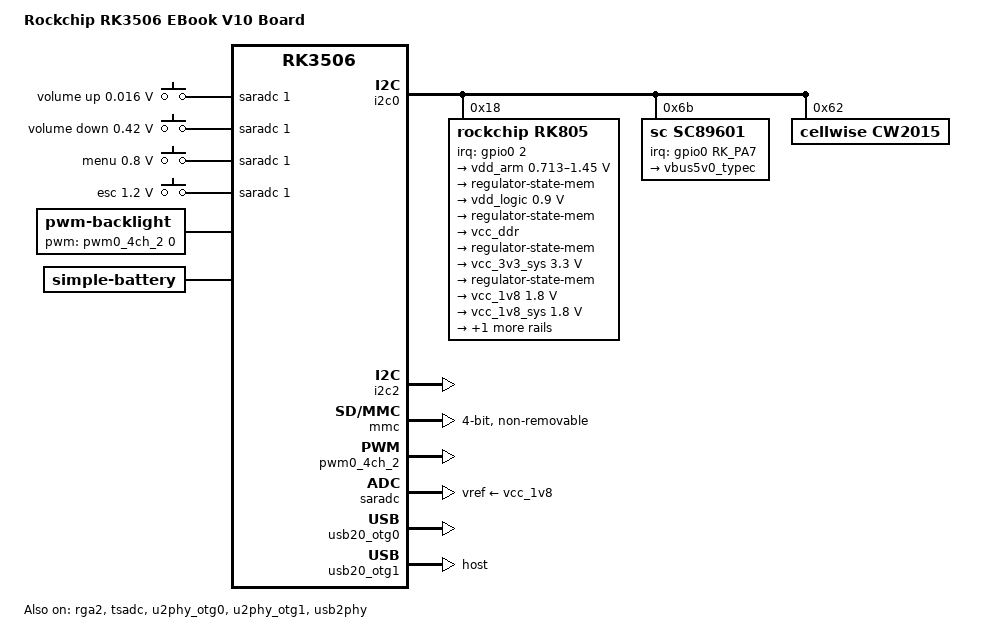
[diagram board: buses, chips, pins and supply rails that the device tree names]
// SPDX-License-Identifier: (GPL-2.0+ OR MIT)
/*
 * Copyright (c) 2024 Rockchip Electronics Co., Ltd.
 */

// reference to rk3502-evb1-v10.dtsi

#include <dt-bindings/display/drm_mipi_dsi.h>
#include <dt-bindings/input/rk-input.h>
#include <dt-bindings/suspend/rockchip-rk3506.h>
#include "rk3506-eink.dtsi"

/ {
	model = "Rockchip RK3506 EBook V10 Board";
	compatible = "rockchip,rk3506-ebook-v10", "rockchip,rk3506";

	chosen {
		bootargs = "earlycon=uart8250,mmio32,0xff0a0000 console=ttyFIQ0 ubi.mtd=5 ubi.block=0,rootfs root=/dev/ubiblock0_0 rootfstype=squashfs rootwait snd_aloop.index=7 snd_aloop.use_raw_jiffies=1";
	};

	acodec_sound: acodec-sound {
		compatible = "simple-audio-card";
		simple-audio-card,name = "rockchip,acodec";
		simple-audio-card,format = "i2s";
		simple-audio-card,mclk-fs = <1024>;
		simple-audio-card,bitclock-master = <&codec_master>;
		simple-audio-card,frame-master = <&codec_master>;
		simple-audio-card,cpu {
			sound-dai = <&sai4>;
		};
		codec_master: simple-audio-card,codec {
			sound-dai = <&audio_codec>;
		};
	};

	adc_keys: adc-keys {
		compatible = "adc-keys";
		io-channels = <&saradc 1>;
		io-channel-names = "buttons";
		keyup-threshold-microvolt = <1800000>;
		poll-interval = <100>;

		vol-up-key {
			label = "volume up";
			linux,code = <KEY_VOLUMEUP>;
			press-threshold-microvolt = <16000>;
		};

		vol-down-key {
			label = "volume down";
			linux,code = <KEY_VOLUMEDOWN>;
			press-threshold-microvolt = <420000>;
		};

		menu-key {
			label = "menu";
			linux,code = <KEY_MENU>;
			press-threshold-microvolt = <800000>;
		};

		esc-key {
			label = "esc";
			linux,code = <KEY_ESC>;
			press-threshold-microvolt = <1200000>;
		};
	};

	backlight: backlight {
		compatible = "pwm-backlight";
		pwms = <&pwm0_4ch_2 0 25000 0>;
		brightness-levels = <
			  0  20  20  21  21  22  22  23
			 23  24  24  25  25  26  26  27
			 27  28  28  29  29  30  30  31
			 31  32  32  33  33  34  34  35
			 35  36  36  37  37  38  38  39
			 40  41  42  43  44  45  46  47
			 48  49  50  51  52  53  54  55
			 56  57  58  59  60  61  62  63
			 64  65  66  67  68  69  70  71
			 72  73  74  75  76  77  78  79
			 80  81  82  83  84  85  86  87
			 88  89  90  91  92  93  94  95
			 96  97  98  99 100 101 102 103
			104 105 106 107 108 109 110 111
			112 113 114 115 116 117 118 119
			120 121 122 123 124 125 126 127
			128 129 130 131 132 133 134 135
			136 137 138 139 140 141 142 143
			144 145 146 147 148 149 150 151
			152 153 154 155 156 157 158 159
			160 161 162 163 164 165 166 167
			168 169 170 171 172 173 174 175
			176 177 178 179 180 181 182 183
			184 185 186 187 188 189 190 191
			192 193 194 195 196 197 198 199
			200 201 202 203 204 205 206 207
			208 209 210 211 212 213 214 215
			216 217 218 219 220 221 222 223
			224 225 226 227 228 229 230 231
			232 233 234 235 236 237 238 239
			240 241 242 243 244 245 246 247
			248 249 250 251 252 253 254 255
		>;
		default-brightness-level = <0>;
		status = "okay";
	};

	dsm_sound: dsm-sound {
		status = "disabled";
		compatible = "simple-audio-card";
		simple-audio-card,format = "i2s";
		simple-audio-card,mclk-fs = <256>;
		simple-audio-card,name = "rockchip,dsm-sound";
		simple-audio-card,bitclock-master = <&sndcodec>;
		simple-audio-card,frame-master = <&sndcodec>;
		sndcpu: simple-audio-card,cpu {
			sound-dai = <&sai3>;
		};
		sndcodec: simple-audio-card,codec {
			sound-dai = <&acdcdig_dsm>;
		};
	};

	fiq_debugger: fiq-debugger {
		compatible = "rockchip,fiq-debugger";
		rockchip,serial-id = <0>;
		rockchip,wake-irq = <0>;
		rockchip,irq-mode-enable = <1>;
		rockchip,baudrate = <1500000>;	/* Only 115200 and 1500000 */
		interrupts = <GIC_SPI 115 IRQ_TYPE_LEVEL_HIGH>;
	};

	bat: battery {
		compatible = "simple-battery";
		charge-full-design-microamp-hours = <1500000>;
		precharge-current-microamp = <180000>;
		precharge-upper-limit-microvolt = <3600000>;
		charge-term-current-microamp = <300000>;
		constant-charge-current-max-microamp = <10000000>;
		constant-charge-voltage-max-microvolt = <4200000>;
		factory-internal-resistance-micro-ohms = <80>;
		voltage-max-design-microvolt = <4200000>;
		voltage-min-design-microvolt = <3000000>;
	};

	charger-manager {
		compatible = "rockchip-charger-manager";
		cm-name = "battery";
		cm-poll-mode = <2>;
		cm-poll-interval = <1000>;

		cm-chargers = "sc89601-charger";
		cm-fuel-gauge = "cw2015-battery";
		monitored-battery = <&bat>;
		extcon = <&usb2phy>;
	};
};

&audio_codec {
	status = "disabled";
};

&cma {
	size = <0x800000>;
};

&cpu0 {
	cpu-supply = <&vdd_arm>;
};

&flexbus_fspi {
	pinctrl-names = "default";
	pinctrl-0 = <&flexbus0m1_pins &flexbus0_clk_pins
		     &flexbus0_d0_pins &flexbus0_d1_pins
		     &flexbus0_d2_pins &flexbus0_d3_pins>;
	status = "disabled";

	flash@0 {
		compatible = "jedec,spi-nor";
		reg = <0>;
		spi-max-frequency = <100000000>;
		spi-rx-bus-width = <4>;
		spi-tx-bus-width = <1>;
	};
};

&fspi {
	status = "disabled";

	flash@0 {
		compatible = "spi-nand";
		reg = <0>;
		spi-max-frequency = <80000000>;
		spi-rx-bus-width = <4>;
		spi-tx-bus-width = <1>;
	};
};

&i2c0 {
	status = "okay";
	pinctrl-names = "default";
	pinctrl-0 = <&rm_io4_i2c0_scl
		     &rm_io5_i2c0_sda>;

	rk805: rk805@18 {
		compatible = "rockchip,rk805";
		status = "okay";
		reg = <0x18>;
		interrupt-parent = <&gpio0>;
		interrupts = <2 IRQ_TYPE_LEVEL_LOW>;
		pinctrl-names = "default";
		pinctrl-0 = <&pmic_int_l &pwr_ctrl_sleep>;
		rockchip,system-power-controller;
		wakeup-source;
		gpio-controller;
		#gpio-cells = <2>;
		#clock-cells = <1>;
		clock-output-names = "rk805-clkout1", "rk805-clkout2";

		rtc {
			status = "okay";
		};

		pwrkey {
			status = "okay";
		};

		gpio {
			status = "okay";
		};

		regulators {
			vdd_arm: DCDC_REG1 { // pwm, off
				regulator-name = "vdd_arm";
				regulator-min-microvolt = <712500>;
				regulator-max-microvolt = <1450000>;
				regulator-initial-mode = <0x1>;
				regulator-ramp-delay = <12500>;
				regulator-boot-on;
				regulator-always-on;
				regulator-state-mem {
					regulator-mode = <0x2>;
					regulator-off-in-suspend;
					regulator-suspend-microvolt = <1000000>;
				};
			};

			vdd_logic: DCDC_REG2 { // vdd_0v9 auto, off
				regulator-name = "vdd_logic";
				regulator-min-microvolt = <900000>;
				regulator-max-microvolt = <900000>;
				regulator-initial-mode = <0x2>;
				regulator-boot-on;
				regulator-always-on;
				regulator-state-mem {
					regulator-mode = <0x2>;
					regulator-off-in-suspend;
					regulator-suspend-microvolt = <900000>;
				};
			};

			vcc_ddr: DCDC_REG3 { // auto, on
				regulator-name = "vcc_ddr";
				regulator-initial-mode = <0x2>;
				regulator-boot-on;
				regulator-always-on;
				regulator-state-mem {
					regulator-mode = <0x2>;
					regulator-on-in-suspend;
				};
			};

			vcc_3v3_sys: DCDC_REG4 { // auto, on
				regulator-name = "vcc_3v3_sys";
				regulator-min-microvolt = <3300000>;
				regulator-max-microvolt = <3300000>;
				regulator-initial-mode = <0x2>;
				regulator-boot-on;
				regulator-always-on;
				regulator-state-mem {
					regulator-mode = <0x2>;
					regulator-on-in-suspend;
					regulator-suspend-microvolt = <3300000>;
				};
			};

			vcc_1v8: LDO_REG1 { // off
				regulator-name = "vcc_1v8";
				regulator-min-microvolt = <1800000>;
				regulator-max-microvolt = <1800000>;
				regulator-boot-on;
				regulator-always-on;
				regulator-state-mem {
					regulator-off-in-suspend;
					regulator-suspend-microvolt = <1800000>;
				};
			};

			vcc_1v8_sys: LDO_REG2 { // off
				regulator-name = "vcc_1v8_sys";
				regulator-min-microvolt = <1800000>;
				regulator-max-microvolt = <1800000>;
				regulator-boot-on;
				regulator-always-on;
				regulator-state-mem {
					regulator-off-in-suspend;
					regulator-suspend-microvolt = <1800000>;
				};
			};

			vdd_0v9_sys: LDO_REG3 { // on
				regulator-name = "vdd_0v9_sys";
				regulator-min-microvolt = <900000>;
				regulator-max-microvolt = <900000>;
				regulator-boot-on;
				regulator-always-on;
				regulator-state-mem {
					regulator-on-in-suspend;
					regulator-suspend-microvolt = <900000>;
				};
			};
		};
	};

	sc89601: sc89601@6b {
		compatible = "sc,sc89601";
		reg = <0x6b>;
		status = "okay";
		pinctrl-names = "default";
		pinctrl-0 = <&charger_ok>;
		interrupt-parent = <&gpio0>;
		interrupts = <RK_PA7 IRQ_TYPE_EDGE_FALLING>; /* IRQ_TYPE_LEVEL_LOW>;*/
		sc,battery-regulation-voltage = <4200000>; /* 4200000,4.2V , 4350000, 4232000*/
		sc,charge-current = <3000000>; /*2040000,* 2.040A, 3000000 */
		sc,termination-current = <180000>;  /* 180mA, 180000 */
		sc,precharge-current = <180000>; /* 180mA */
		sc,minimum-sys-voltage = <3400000>; /*3500000, 3.5V */
		sc,boost-voltage = <5000000>; /*5100000, 5.1V */
		sc,boost-max-current = <1500000>; /*1200000, 1200mA */

		//sc,use-stat-pin = <0>; /* enable stat pin */
		sc,boost-freq = <0>; /* 1.5MHz */

		monitored-battery = <&bat>;
		regulators {
			//otg-en-pin = <&gpio0 RK_PB3 GPIO_ACTIVE_HIGH>;
			vbus5v0_typec: vbus5v0-typec {
				regulator-compatible = "otg-vbus";
				regulator-name = "vbus5v0_typec";
			};
		};
	};

	cw2015: cw2015@62 {
		compatible = "cellwise,cw2015";
		status = "okay";
		reg = <0x62>;
		//bat_low_gpio = <&gpio2 RK_PD7 GPIO_ACTIVE_LOW>;
		cellwise,battery-profile = /bits/ 8
			<0x15 0x7E 0x7A 0x6E 0x6A 0x67 0x63 0x62 0x62 0x61 0x5E  \
			0x59 0x56 0x57 0x51 0x3C 0x30 0x27 0x29 0x29 0x2E 0x3A  \
			0x49 0x57 0x64 0x57 0x0B 0x85 0x30 0x50 0x60 0x67 0x6A  \
			0x6C 0x6A 0x6C 0x39 0x14 0x64 0x0E 0x04 0x2A 0x4E 0x81  \
			0x8E 0x90 0x90 0x43 0x64 0x83 0x96 0xA5 0x80 0x86 0xAC  \
			0xCB 0x2F 0x00 0x64 0xA5 0xB5 0x00 0xF8 0x31>;

		cellwise,monitor-interval-ms = <5000>;
		monitored-battery = <&bat>;
		power-supplies = <&sc89601>;
	};
};

&i2c2 {
	status = "okay";

	pinctrl-names = "default";
	pinctrl-0 = <&rm_io25_i2c2_scl &rm_io26_i2c2_sda>;
};

&mmc {
	max-frequency = <150000000>;
	bus-width = <4>;
	no-sdio;
	no-sd;
	non-removable;
	mmc-hs200;
	status = "okay";
};

&pinctrl {
	sdio-pwrseq {
		wifi_enable_h: wifi-enable-h {
			rockchip,pins = <0 RK_PB7 RK_FUNC_GPIO &pcfg_pull_none>;
		};
	};

	speaker {
		spk_ctrl: spk-ctrl {
			rockchip,pins = <1 RK_PC6 RK_FUNC_GPIO &pcfg_pull_none>;
		};
	};

	wireless-bluetooth {
		uart5_gpios: uart5-gpios {
			rockchip,pins = <3 RK_PB5 RK_FUNC_GPIO &pcfg_pull_none>;
		};
	};

	wireless-wlan {
		wifi_wake_host: wifi-wake-host {
			rockchip,pins = <0 RK_PC0 RK_FUNC_GPIO &pcfg_pull_up>;
		};
	};
	pmic {
		pmic_int_l: pmic-int-l {
			rockchip,pins = <0 RK_PA2 RK_FUNC_GPIO &pcfg_pull_up>; /* gpio0_a2 */
		};
		pwr_ctrl_sleep: pwr-ctrl-sleep {
			rockchip,pins = <0 RK_PA6 RK_FUNC_GPIO &pcfg_output_low>;
		};
	};
	bl_3v3{
		vcc_3v3_bl_en: vcc-3v3-bl-en {
			rockchip,pins = <0 RK_PA3 RK_FUNC_GPIO &pcfg_pull_up>; /* gpio0_a3 */
		};
	};
	charger-ok-1{
		charger_ok: charger-ok {
			rockchip,pins = <0 RK_PA7 RK_FUNC_GPIO &pcfg_pull_up>; /* gpio0_a3 */
		};
	};
};

&pwm0_4ch_2 {
	pinctrl-names = "active";
	pinctrl-0 = <&rm_io3_pwm0_ch2>;
	status = "okay";
};

&rga2 {
	status = "okay";
};

&rockchip_suspend {
	rockchip,sleep-mode-config = <
		(0
		| RKPM_ARMOFF_LOGOFF
		| RKPM_24M_OSC_DIS
		| RKPM_32K_CLK
		| RKPM_32K_SRC_RC
		)
	>;

	rockchip,apios-suspend = <
		(0
		| RKPM_PWREN_SLEEP_GPIO0A6 | RKPM_PWREN_SLEEP_ACT_HIGH
		)
	>;
};

&sai1 {
	pinctrl-names = "default", "sleep";
	pinctrl-0 = <&rm_io9_sai1_sclk
		     &rm_io10_sai1_lrck
		     &rm_io11_sai1_sdi
		     &rm_io12_sai1_sdo0>;
	pinctrl-1 = <&rm_io9_idle_pins
		     &rm_io10_idle_pins
		     &rm_io11_idle_pins
		     &rm_io12_idle_pins>;
	status = "disabled";
};

&gmac0 {
	status = "disabled";
};

&saradc {
	vref-supply = <&vcc_1v8>;
	status = "okay";
};

&tsadc {
	status = "okay";
};

&uart5 {
	status = "disabled";
};

&u2phy_otg0 {
	status = "okay";
};

&u2phy_otg1 {
	status = "okay";
};

&usb2phy {
	status = "okay";
};

&usb20_otg0 {
	status = "okay";
};

&usb20_otg1 {
	dr_mode = "host";
	status = "okay";
};
